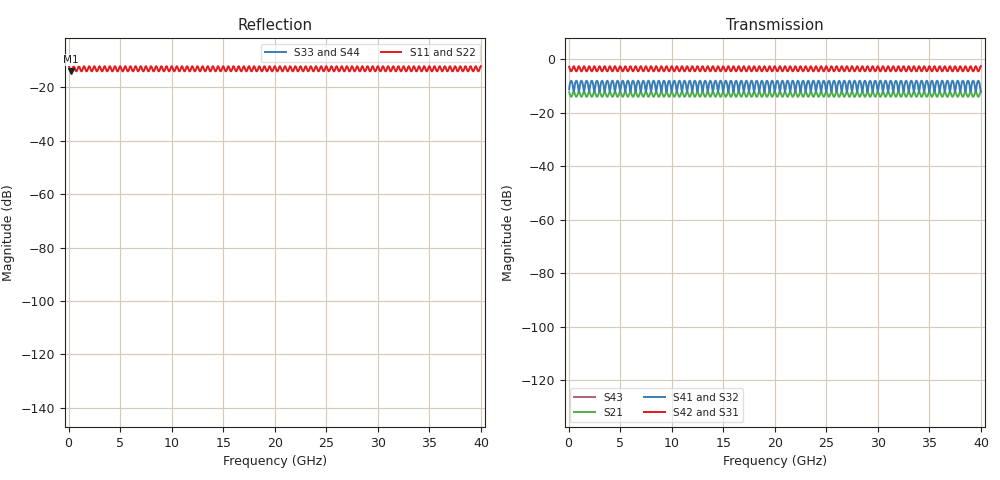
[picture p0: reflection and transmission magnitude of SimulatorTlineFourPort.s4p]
# MHz MA S R 50.0
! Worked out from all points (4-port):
!   800 points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, 50 MHz to 40 GHz, reference 50 ohm
!   strongest paths, dB at 50 MHz, 10.05 GHz, 20.05 GHz, 30.05 GHz, 40 GHz:
!     S42: -2.7, -2.7, -2.7, -2.7, -2.5
!     S31: -2.7, -2.7, -2.7, -2.7, -2.5
!     S41: -11.2, -11.2, -11.2, -11.2, -12.0
!     S32: -11.2, -11.2, -11.2, -11.2, -12.0
!     S21: -12.3, -12.3, -12.3, -12.3, -12.0
!     S43: -, -, -, -, -
!   lowest |S11| = -14.0 dB at 250 MHz (marker M1), VSWR 1.50, Z = 46.2 - j19.2 ohm
!   |S11| at or under -10 dB: start of sweep to end of sweep
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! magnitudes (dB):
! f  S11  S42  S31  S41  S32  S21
! 50 MHz  -12.3  -2.7  -2.7  -11.2  -11.2  -12.3
! 250 MHz  -14.0  -4.4  -4.4  -8.0  -8.0  -14.0
! 500 MHz  -12.0  -2.5  -2.5  -12.0  -12.0  -12.0
! 750 MHz  -14.0  -4.4  -4.4  -8.0  -8.0  -14.0
! 1 GHz  -12.0  -2.5  -2.5  -12.0  -12.0  -12.0
! 39.75 GHz  -14.0  -4.4  -4.4  -8.0  -8.0  -14.0
! 40 GHz  -12.0  -2.5  -2.5  -12.0  -12.0  -12.0
